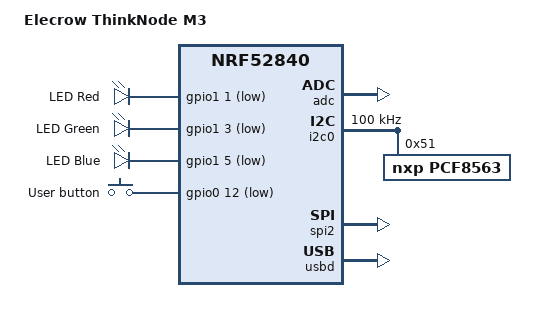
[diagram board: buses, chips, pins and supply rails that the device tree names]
/*
 * SPDX-License-Identifier: GPL-3.0-or-later
 * SPDX-FileCopyrightText: The contributors to the LICHEN project
 *
 * Elecrow ThinkNode M3 — nRF52840-QIAA + LR1110 + GPS
 *
 * All GPIO pin assignments verified against Meshtastic firmware:
 *   variants/nrf52840/ELECROW-ThinkNode-M3/variant.h
 */

/dts-v1/;
#include <nordic/nrf52840_qiaa.dtsi>
#include <zephyr/dt-bindings/input/input-event-codes.h>
#include "thinknode_m3-pinctrl.dtsi"

/ {
	model = "Elecrow ThinkNode M3";
	compatible = "elecrow,thinknode-m3";

	chosen {
		zephyr,sram           = &sram0;
		zephyr,flash          = &flash0;
		zephyr,code-partition = &slot0_partition;
		zephyr,console        = &cdc_acm_uart0;
	};

	leds {
		compatible = "gpio-leds";
		led0: led_0 {
			gpios = <&gpio1 1 GPIO_ACTIVE_LOW>;
			label = "LED Red";
		};
		led1: led_1 {
			gpios = <&gpio1 3 GPIO_ACTIVE_LOW>;
			label = "LED Green";
		};
		led2: led_2 {
			gpios = <&gpio1 5 GPIO_ACTIVE_LOW>;
			label = "LED Blue";
		};
	};

	buttons {
		compatible = "gpio-keys";
		button0: button_0 {
			gpios = <&gpio0 12 (GPIO_PULL_UP | GPIO_ACTIVE_LOW)>;
			label = "User button";
			zephyr,code = <INPUT_KEY_0>;
		};
	};

	aliases {
		led0      = &led0;
		led1      = &led1;
		led2      = &led2;
		sw0       = &button0;
		lora0     = &lora0;
		watchdog0 = &wdt0;
	};
};

&uicr {
	gpio-as-nreset;
};

&gpiote {
	status = "okay";
};

&gpio0 {
	status = "okay";
};

&gpio1 {
	status = "okay";
};

&adc {
	status = "okay";
};

/* PCF8563 real-time clock + sensors on I2C0 (SDA=P0.26, SCL=P0.27) */
&i2c0 {
	compatible = "nordic,nrf-twim";
	status = "okay";
	clock-frequency = <I2C_BITRATE_STANDARD>;
	pinctrl-0 = <&i2c0_default>;
	pinctrl-1 = <&i2c0_sleep>;
	pinctrl-names = "default", "sleep";

	pcf8563: pcf8563@51 {
		compatible = "nxp,pcf8563";
		reg = <0x51>;
		status = "okay";
	};
};

/*
 * LR1110 on SPI2.
 *
 * Pin assignments verified against Meshtastic variant.h:
 *   CS    = P1.12  SCK  = P1.13  MOSI = P1.14  MISO = P1.15
 *   RESET = P1.10 (active-low NRESET)
 *   BUSY  = P1.11 (active-high DIO2)
 *   IRQ   = P1.08 (active-high DIO1/DIO9)
 *
 * DIO3 TCXO (3.3 V) and DIO5-DIO8 RF switch are internal to the
 * LR1110 — no external nRF52840 GPIOs required for those signals.
 *
 * Node is left disabled here; enable via app overlay (status = "okay")
 * and set zephyr,lora = &lora0 in chosen.
 */
&spi2 {
	compatible = "nordic,nrf-spim";
	status = "okay";
	cs-gpios = <&gpio1 12 GPIO_ACTIVE_LOW>;
	pinctrl-0 = <&spi2_default>;
	pinctrl-1 = <&spi2_sleep>;
	pinctrl-names = "default", "sleep";

	lora0: lora@0 {
		compatible = "semtech,lr1110";
		reg = <0>;
		status = "disabled";
		reset-gpios = <&gpio1 10 GPIO_ACTIVE_LOW>;
		busy-gpios  = <&gpio1 11 GPIO_ACTIVE_HIGH>;
		dio9-gpios  = <&gpio1  8 GPIO_ACTIVE_HIGH>;
		/* 1 MHz (from 8 MHz): conservative SPI clock — reduces USB-EasyDMA vs
		 * SPIM-EasyDMA contention that intermittently wedges a transfer. */
		spi-max-frequency = <1000000>;
	};
};

/*
 * GPS on UART1 (9600 baud) — disabled by default.
 * Enable in app overlay for applications that use GPS.
 *   TX = P0.22  RX = P0.20  RESET = P0.25  STANDBY = P0.21  EN = P0.14
 */
&uart1 {
	compatible = "nordic,nrf-uarte";
	status = "disabled";
	current-speed = <9600>;
	pinctrl-0 = <&uart1_default>;
	pinctrl-1 = <&uart1_sleep>;
	pinctrl-names = "default", "sleep";
};

/* Native USB — CDC-ACM console */
zephyr_udc0: &usbd {
	compatible = "nordic,nrf-usbd";
	status = "okay";

	cdc_acm_uart0: cdc_acm_uart0 {
		compatible = "zephyr,cdc-acm-uart";
	};
};

&flash0 {
	partitions {
		compatible = "fixed-partitions";
		#address-cells = <1>;
		#size-cells = <1>;

		/*
		 * Adafruit UF2 bootloader layout for Elecrow ThinkNode M3:
		 *   0x0000-0x0FFF  Nordic MBR (protected, not writeable via UF2)
		 *   0x1000         APP_START_ADDR — where the Adafruit bootloader jumps
		 *                  (no SoftDevice; LICHEN uses the Zephyr BLE stack)
		 *   0xF4000+       Adafruit UF2 bootloader itself
		 *   0xFF000        DFU settings (CRC + image_size)
		 */
		boot_partition: partition@1000 {
			label = "mcuboot";
			reg = <0x00001000 0x0000C000>;
		};
		slot0_partition: partition@d000 {
			label = "image-0";
			reg = <0x0000D000 0x00059000>;
		};
		slot1_partition: partition@66000 {
			label = "image-1";
			reg = <0x00066000 0x00059000>;
		};
		storage_partition: partition@bf000 {
			label = "storage";
			reg = <0x000bf000 0x00004000>;
		};
	};
};
